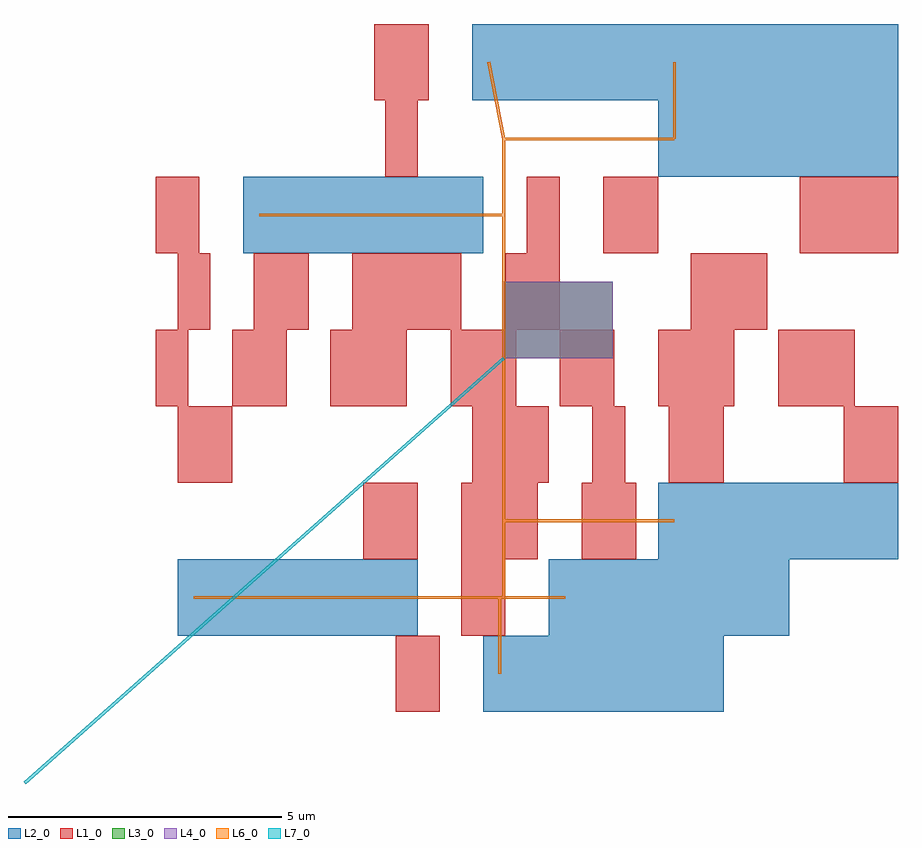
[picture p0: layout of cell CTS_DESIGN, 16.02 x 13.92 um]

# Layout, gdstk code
import gdstk
lib = gdstk.Library(unit=1e-6, precision=1e-09)
def R(c, l, rs):  # rectangles x0, y0, x1, y1
    for r in rs: c.add(gdstk.rectangle(r[:2], r[2:], *l))
L1_0 = (1, 0)
L2_0 = (2, 0)
L3_0 = (3, 0)
L4_0 = (4, 0)
L5_0 = (5, 0)
L6_0 = (6, 0)
L7_0 = (7, 0)

cts_design = lib.new_cell('CTS_DESIGN')
R(cts_design, L1_0, [(7.2,3.4,8,4.8), (8.4,4.8,9.2,6.2), (6.6,6.2,7.6,7.6), (8.4,6.2,9.8,7.6), (10.6,6.2,11.6,7.6), (3.2,7.6,4.2,9), (8.6,7.6,10,9), (10.8,7.6,11.4,9), (12.2,7.6,13.2,9), (15.4,7.6,16.4,9), (2.8,9,3.4,10.4), (4.2,9,5.2,10.4), (6,9,7.4,10.4), (8.2,9,9.4,10.4), (10.2,9,11.2,10.4), (12,9,13.4,10.4), (14.2,9,15.6,10.4), (3.2,10.4,3.8,11.8), (4.6,10.4,5.6,11.8), (6.4,10.4,8.4,11.8), (9.2,10.4,10.2,11.8), (12.6,10.4,14,11.8), (2.8,11.8,3.6,13.2), (9.6,11.8,10.2,13.2), (11,11.8,12,13.2), (14.6,11.8,16.4,13.2), (7,13.2,7.6,14.6), (6.8,14.6,7.8,16)])
R(cts_design, L2_0, [(8.8,3.4,13.2,4.8), (3.2,4.8,7.6,6.2), (10,4.8,14.4,6.2), (12,6.2,16.4,7.6), (4.4,11.8,8.8,13.2), (12,13.2,16.4,14.6), (8.6,14.6,13,16), (12,14.6,16.4,16)])
R(cts_design, L3_0, [(9.175,9.876,11.175,11.276)])
R(cts_design, L4_0, [(9.175,9.876,11.175,11.276)])
cts_design.add(gdstk.FlexPath([(9.175,9.876),(9.175,9.876)], 0.05, ends="flush", simple_path=True, layer=5, datatype=0))  # L5_0
cts_design.add(gdstk.FlexPath([(9.175,9.876),(9.175,6.904)], 0.05, ends="flush", simple_path=True, layer=6, datatype=0))  # L6_0
cts_design.add(gdstk.FlexPath([(9.175,6.904),(12.3,6.904)], 0.05, ends="flush", simple_path=True, layer=6, datatype=0))  # L6_0
cts_design.add(gdstk.FlexPath([(9.175,6.904),(9.175,5.496)], 0.05, ends="flush", simple_path=True, layer=6, datatype=0))  # L6_0
cts_design.add(gdstk.FlexPath([(9.175,5.496),(10.3,5.496)], 0.05, ends="flush", simple_path=True, layer=6, datatype=0))  # L6_0
cts_design.add(gdstk.FlexPath([(9.175,5.496),(9.1,5.496)], 0.05, ends="flush", simple_path=True, layer=6, datatype=0))  # L6_0
cts_design.add(gdstk.FlexPath([(9.1,5.496),(9.1,4.104)], 0.05, ends="flush", simple_path=True, layer=6, datatype=0))  # L6_0
cts_design.add(gdstk.FlexPath([(9.1,5.496),(3.5,5.496)], 0.05, ends="flush", simple_path=True, layer=6, datatype=0))  # L6_0
cts_design.add(gdstk.FlexPath([(9.175,9.876),(9.175,12.504)], 0.05, ends="flush", simple_path=True, layer=6, datatype=0))  # L6_0
cts_design.add(gdstk.FlexPath([(9.175,12.504),(4.7,12.504)], 0.05, ends="flush", simple_path=True, layer=6, datatype=0))  # L6_0
cts_design.add(gdstk.FlexPath([(9.175,12.504),(9.175,13.896)], 0.05, ends="flush", simple_path=True, layer=6, datatype=0))  # L6_0
cts_design.add(gdstk.FlexPath([(9.175,13.896),(8.9,15.304)], 0.05, ends="flush", simple_path=True, layer=6, datatype=0))  # L6_0
cts_design.add(gdstk.FlexPath([(9.175,13.896),(12.3,13.896)], 0.05, ends="flush", simple_path=True, layer=6, datatype=0))  # L6_0
cts_design.add(gdstk.FlexPath([(12.3,13.896),(12.3,15.304)], 0.05, ends="flush", simple_path=True, layer=6, datatype=0))  # L6_0
cts_design.add(gdstk.FlexPath([(0.4,2.1),(9.175,9.876)], 0.05, ends="flush", simple_path=True, layer=7, datatype=0))  # L7_0

lib.write_gds('CTS_DESIGN.gds')
